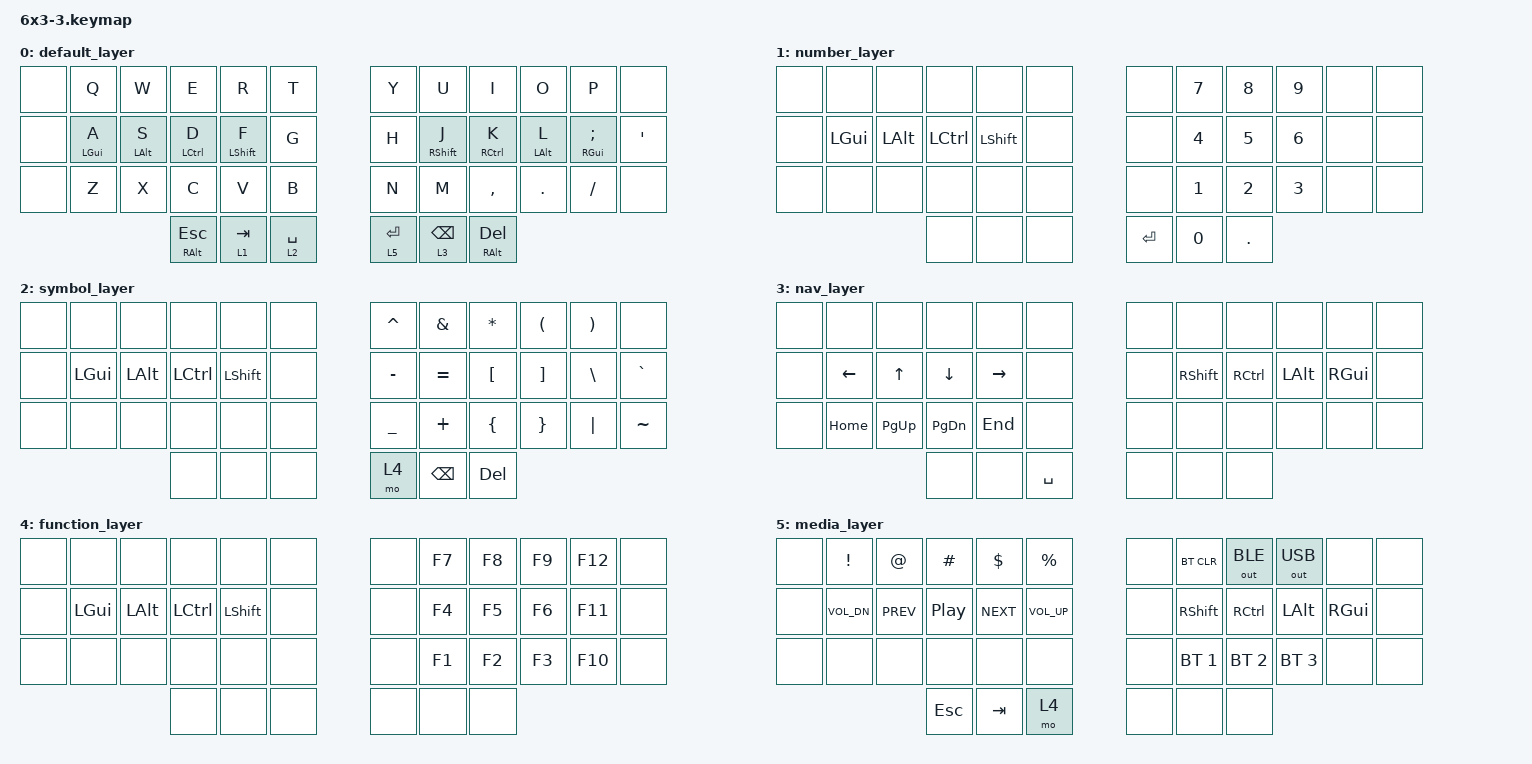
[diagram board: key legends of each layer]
/*
 * Copyright (c) 2021 Casey Webster
 *
 * SPDX-License-Identifier: MIT
 */

#include <behaviors.dtsi>
#include <dt-bindings/zmk/bt.h>
#include <dt-bindings/zmk/keys.h>
#include <dt-bindings/zmk/outputs.h>

&mt { flavor = "balanced"; };

&lt { flavor = "balanced"; };

/ {
    combos {
        compatible = "zmk,combos";

        caps_word {
            bindings = <&caps_word>;
            key-positions = <17 18>;
            layers = <0>;
        };
    };

    behaviors {
        hml: home_row_left {
            compatible = "zmk,behavior-hold-tap";
            label = "HMLB";
            bindings = <&kp>, <&kp>;

            #binding-cells = <2>;
            tapping-term-ms = <280>;
            flavor = "balanced";
            hold-trigger-key-positions = <6 7 8 9 10 11 18 19 20 21 22 23 30 31 32 33 34 35 39 40 41>;
            hold-trigger-on-release;
        };

        hmr: home_row_right {
            compatible = "zmk,behavior-hold-tap";
            label = "HMR";
            bindings = <&kp>, <&kp>;

            #binding-cells = <2>;
            tapping-term-ms = <280>;
            flavor = "balanced";
            hold-trigger-key-positions = <0 1 2 3 4 5 12 13 14 15 16 17 24 25 26 27 28 29 36 37 38>;
            hold-trigger-on-release;
        };

        thr: thumb_right {
            compatible = "zmk,behavior-hold-tap";
            label = "THR";
            bindings = <&mo>, <&kp>;

            #binding-cells = <2>;
            tapping-term-ms = <200>;
            hold-trigger-key-positions = <0 1 2 3 4 5 12 13 14 15 16 17 24 25 26 27 28 29 36 37 38>;
            hold-trigger-on-release;
            flavor = "balanced";
        };

        thl: thumb_left {
            compatible = "zmk,behavior-hold-tap";
            label = "THL";
            bindings = <&mo>, <&kp>;

            #binding-cells = <2>;
            tapping-term-ms = <200>;
            flavor = "balanced";
            hold-trigger-key-positions = <6 7 8 9 10 11 18 19 20 21 22 23 30 31 32 33 34 35 39 40 41>;
            hold-trigger-on-release;
        };
    };

    keymap {
        compatible = "zmk,keymap";

        default_layer {
            // ---------------------------------------------------------------------------------------------------------------------------------
            // |  ESC  |  Q  |  W  |  F   |  P   |  B   |    |  J   |  L   |  U  |  Y  |  '  |   \  |
            // |  TAB  |  A  |  R  |  S   |  T   |  G   |    |  M   |  N   |  E  |  I  |  O  |   '  |
            // | SHIFT |  Z  |  X  |  C   |  D   |  V   |    |  K   |  H   |  ,  |  .  |  /  | CTRL |
            //                     | ESC  | SPC  | TAB  |    | RET  | BSPC | DEL |

            bindings = <
&none  &kp Q            &kp W            &kp E               &kp R              &kp T           &kp Y       &kp U               &kp I               &kp O            &kp P                     &none
&none  &hml LEFT_GUI A  &hml LEFT_ALT S  &hml LCTRL D        &hml LEFT_SHIFT F  &kp G           &kp H       &hmr RIGHT_SHIFT J  &hmr RCTRL K        &hmr LEFT_ALT L  &hmr RIGHT_GUI SEMICOLON  &kp SQT
&none  &kp Z            &kp X            &kp C               &kp V              &kp B           &kp N       &kp M               &kp COMMA           &kp DOT          &kp FSLH                  &none
                                         &hml RIGHT_ALT ESC  &thl 1 TAB         &thl 2 SPACE    &thr 5 RET  &thr 3 BSPC         &hmr RIGHT_ALT DEL
            >;
        };

        number_layer {
            bindings = <
&none  &none         &none         &none      &none           &none    &none    &kp N7  &kp N8   &kp N9  &none  &none
&none  &kp LEFT_GUI  &kp LEFT_ALT  &kp LCTRL  &kp LEFT_SHIFT  &none    &none    &kp N4  &kp N5   &kp N6  &none  &none
&none  &none         &none         &none      &none           &none    &none    &kp N1  &kp N2   &kp N3  &none  &none
                                   &none      &none           &none    &kp RET  &kp N0  &kp DOT
            >;
        };

        symbol_layer {
            bindings = <
&none  &none         &none         &none      &none           &none    &kp CARET       &kp AMPERSAND  &kp ASTERISK    &kp LEFT_PARENTHESIS  &kp RIGHT_PARENTHESIS  &none
&none  &kp LEFT_GUI  &kp LEFT_ALT  &kp LCTRL  &kp LEFT_SHIFT  &none    &kp MINUS       &kp EQUAL      &kp LBKT        &kp RBKT              &kp BACKSLASH          &kp GRAVE
&none  &none         &none         &none      &none           &none    &kp UNDERSCORE  &kp PLUS       &kp LEFT_BRACE  &kp RIGHT_BRACE       &kp PIPE               &kp TILDE
                                   &none      &none           &none    &mo 4           &kp BSPC       &kp DEL
            >;
        };

        nav_layer {
            bindings = <
&none  &none     &none        &none          &none      &none        &none  &none            &none      &none         &none          &none
&none  &kp LEFT  &kp UP       &kp DOWN       &kp RIGHT  &none        &none  &kp RIGHT_SHIFT  &kp RCTRL  &kp LEFT_ALT  &kp RIGHT_GUI  &none
&none  &kp HOME  &kp PAGE_UP  &kp PAGE_DOWN  &kp END    &none        &none  &none            &none      &none         &none          &none
                              &none          &none      &kp SPACE    &none  &none            &none
            >;
        };

        function_layer {
            bindings = <
&none  &none         &none         &none      &none           &none    &none  &kp F7  &kp F8  &kp F9  &kp F12  &none
&none  &kp LEFT_GUI  &kp LEFT_ALT  &kp LCTRL  &kp LEFT_SHIFT  &none    &none  &kp F4  &kp F5  &kp F6  &kp F11  &none
&none  &none         &none         &none      &none           &none    &none  &kp F1  &kp F2  &kp F3  &kp F10  &none
                                   &none      &none           &none    &none  &none   &none
            >;
        };

        media_layer {
            bindings = <
&none  &kp EXCL      &kp AT      &kp HASH  &kp DOLLAR  &kp PERCENT     &none  &bt BT_CLR       &out OUT_BLE  &out OUT_USB  &none          &none
&none  &kp C_VOL_DN  &kp C_PREV  &kp C_PP  &kp C_NEXT  &kp C_VOL_UP    &none  &kp RIGHT_SHIFT  &kp RCTRL     &kp LEFT_ALT  &kp RIGHT_GUI  &none
&none  &none         &none       &none     &none       &none           &none  &bt BT_SEL 1     &bt BT_SEL 2  &bt BT_SEL 3  &none          &none
                                 &kp ESC   &kp TAB     &mo 4           &none  &none            &none
            >;
        };
    };
};
